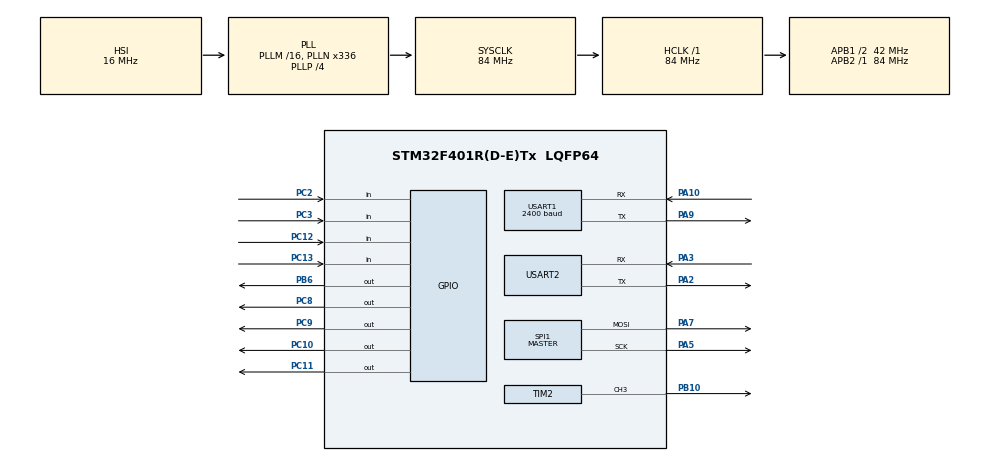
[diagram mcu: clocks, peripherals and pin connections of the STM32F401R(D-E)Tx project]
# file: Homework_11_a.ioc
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Dma.Request0=USART2_TX
Dma.Request1=SPI1_TX
Dma.SPI1_TX.1.Direction=DMA_MEMORY_TO_PERIPH
Dma.SPI1_TX.1.FIFOMode=DMA_FIFOMODE_DISABLE
Dma.SPI1_TX.1.Instance=DMA2_Stream3
Dma.SPI1_TX.1.MemDataAlignment=DMA_MDATAALIGN_BYTE
Dma.SPI1_TX.1.MemInc=DMA_MINC_ENABLE
Dma.SPI1_TX.1.Mode=DMA_NORMAL
Dma.SPI1_TX.1.PeriphDataAlignment=DMA_PDATAALIGN_BYTE
Dma.SPI1_TX.1.PeriphInc=DMA_PINC_DISABLE
Dma.SPI1_TX.1.Priority=DMA_PRIORITY_LOW
Dma.USART2_TX.0.Direction=DMA_MEMORY_TO_PERIPH
Dma.USART2_TX.0.FIFOMode=DMA_FIFOMODE_DISABLE
Dma.USART2_TX.0.Instance=DMA1_Stream6
Dma.USART2_TX.0.MemDataAlignment=DMA_MDATAALIGN_BYTE
Dma.USART2_TX.0.MemInc=DMA_MINC_ENABLE
Dma.USART2_TX.0.Mode=DMA_NORMAL
Dma.USART2_TX.0.PeriphDataAlignment=DMA_PDATAALIGN_BYTE
Dma.USART2_TX.0.PeriphInc=DMA_PINC_DISABLE
Dma.USART2_TX.0.Priority=DMA_PRIORITY_LOW
Mcu.Family=STM32F4
Mcu.Name=STM32F401R(D-E)Tx
Mcu.Package=LQFP64
NVIC.DMA1_Stream6_IRQn=true\:0\:0\:false\:false\:true\:false\:true\:true
NVIC.DMA2_Stream3_IRQn=true\:1\:0\:true\:false\:true\:false\:true\:true
NVIC.PriorityGroup=NVIC_PRIORITYGROUP_4
NVIC.SPI1_IRQn=true\:1\:0\:true\:false\:true\:true\:true\:true
NVIC.TIM1_TRG_COM_TIM11_IRQn=true\:1\:0\:true\:false\:true\:true\:true\:true
NVIC.TIM1_UP_TIM10_IRQn=true\:1\:0\:true\:false\:true\:true\:true\:true
NVIC.TIM3_IRQn=true\:0\:0\:false\:false\:true\:true\:true\:true
NVIC.USART1_IRQn=true\:1\:0\:true\:false\:true\:true\:true\:true
NVIC.USART2_IRQn=true\:1\:0\:true\:false\:true\:true\:true\:true
PA10.Mode=Asynchronous
PA10.Signal=USART1_RX
PA13.GPIO_Label=TMS
PA13.Mode=Trace_Asynchronous_SW
PA13.Signal=SYS_JTMS-SWDIO
PA14.GPIO_Label=TCK
PA14.Mode=Trace_Asynchronous_SW
PA14.Signal=SYS_JTCK-SWCLK
PA2.GPIO_Mode=GPIO_MODE_AF_PP
PA2.GPIO_ModeDefaultPP=GPIO_MODE_AF_PP
PA2.GPIO_PuPd=GPIO_NOPULL
PA2.GPIO_Speed=GPIO_SPEED_FREQ_VERY_HIGH
PA2.Mode=Asynchronous
PA2.Signal=USART2_TX
PA3.GPIO_Mode=GPIO_MODE_AF_PP
PA3.GPIO_ModeDefaultPP=GPIO_MODE_AF_PP
PA3.GPIO_PuPd=GPIO_NOPULL
PA3.GPIO_Speed=GPIO_SPEED_FREQ_VERY_HIGH
PA3.Mode=Asynchronous
PA3.Signal=USART2_RX
PA5.Mode=TX_Only_Simplex_Unidirect_Master
PA5.Signal=SPI1_SCK
PA7.Mode=TX_Only_Simplex_Unidirect_Master
PA7.Signal=SPI1_MOSI
PA9.Mode=Asynchronous
PA9.Signal=USART1_TX
PB10.Signal=S_TIM2_CH3
PB3.GPIO_Label=SWO
PB3.Mode=Trace_Asynchronous_SW
PB3.Signal=SYS_JTDO-SWO
PB6.Signal=GPIO_Output
PC10.Signal=GPIO_Output
PC11.Signal=GPIO_Output
PC12.Signal=GPIO_Input
PC13-ANTI_TAMP.Signal=GPIO_Input
PC14-OSC32_IN.Mode=LSE-External-Oscillator
PC14-OSC32_IN.Signal=RCC_OSC32_IN
PC15-OSC32_OUT.Mode=LSE-External-Oscillator
PC15-OSC32_OUT.Signal=RCC_OSC32_OUT
PC2.Signal=GPIO_Input
PC3.Signal=GPIO_Input
PC8.Signal=GPIO_Output
PC9.Signal=GPIO_Output
PH0\ -\ OSC_IN.Mode=HSE-External-Clock-Source
PH0\ -\ OSC_IN.Signal=RCC_OSC_IN
PH1\ -\ OSC_OUT.Mode=HSE-External-Clock-Source
PH1\ -\ OSC_OUT.Signal=RCC_OSC_OUT
ProjectManager.HeapSize=0x200
ProjectManager.StackSize=0x400
ProjectManager.TargetToolchain=STM32CubeIDE
RCC.48MHZClocksFreq_Value=48000000
RCC.AHBFreq_Value=84000000
RCC.APB1CLKDivider=RCC_HCLK_DIV2
RCC.APB1Freq_Value=42000000
RCC.APB1TimFreq_Value=84000000
RCC.APB2Freq_Value=84000000
RCC.APB2TimFreq_Value=84000000
RCC.CortexFreq_Value=84000000
RCC.HCLKFreq_Value=84000000
RCC.HSE_VALUE=8000000
RCC.HSI_VALUE=16000000
RCC.PLLN=336
RCC.PLLP=RCC_PLLP_DIV4
RCC.PLLQ=7
RCC.SYSCLKFreq_VALUE=84000000
RCC.SYSCLKSource=RCC_SYSCLKSOURCE_PLLCLK
RCC.VCOOutputFreq_Value=336000000
SH.S_TIM2_CH3.0=TIM2_CH3,PWM Generation3 CH3
SPI1.BaudRatePrescaler=SPI_BAUDRATEPRESCALER_4
SPI1.Direction=SPI_DIRECTION_2LINES
SPI1.Mode=SPI_MODE_MASTER
SPI1.VirtualType=VM_MASTER
TIM10.Period=4999
TIM10.Prescaler=83
TIM11.Period=99
TIM11.Prescaler=83
TIM2.Channel-PWM\ Generation3\ CH3=TIM_CHANNEL_3
TIM2.Period=2210
TIM2.Pulse-PWM\ Generation3\ CH3=1105
TIM3.Period=34999
USART1.BaudRate=2400
USART1.Mode=MODE_RX
USART1.VirtualMode=VM_ASYNC
USART2.VirtualMode=VM_ASYNC
VP_TIM10_VS_ClockSourceINT.Mode=Enable_Timer
VP_TIM11_VS_ClockSourceINT.Mode=Enable_Timer
VP_TIM2_VS_ClockSourceINT.Mode=Internal
VP_TIM3_VS_ClockSourceINT.Mode=Internal
board=NUCLEO-F401RE

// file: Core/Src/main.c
/* USER CODE BEGIN Header */
/**
  ******************************************************************************
  * @file           : main.c
  * @brief          : Main program body
  ******************************************************************************
  * @attention
  *
  * Copyright (c) 2024 STMicroelectronics.
  * All rights reserved.
  *
  * This software is licensed under terms that can be found in the LICENSE file
  * in the root directory of this software component.
  * If no LICENSE file comes with this software, it is provided AS-IS.
  *
  ******************************************************************************
  */
/* USER CODE END Header */
#include "main.h"

/* USER CODE BEGIN Includes */
#include <string.h>

/* USER CODE END Includes */

/* USER CODE BEGIN PD */
#define NUM_ROWS 4
#define NUM_COLS 4
#define DEBOUNCE_TIME 5

#define ROW_PORT GPIOC
#define COL_PORT GPIOC

/* USER CODE END PD */

SPI_HandleTypeDef hspi1;
DMA_HandleTypeDef hdma_spi1_tx;

TIM_HandleTypeDef htim2;
TIM_HandleTypeDef htim3;
TIM_HandleTypeDef htim10;
TIM_HandleTypeDef htim11;

UART_HandleTypeDef huart1;
UART_HandleTypeDef huart2;
DMA_HandleTypeDef hdma_usart2_tx;

/* USER CODE BEGIN PV */

uint8_t RX_byte = 0;

uint8_t keyPressed[4][4];
uint32_t press_ack[4][4];

const char keyMap[4][4] = {
    {'0', '1', '2', '3'},
    {'4', '5', '6', '7'},
    {'8', '9', 'A', 'B'},
    {'C', 'D', 'E', 'F'}
};

uint8_t col = 0;
uint16_t row_pins [NUM_ROWS] = {GPIO_PIN_3,GPIO_PIN_2,GPIO_PIN_13,GPIO_PIN_12};

uint8_t baud_flag = 0;

//Different matrix
uint8_t matrix[5][2];

volatile uint8_t matrix_QM[5][2] = {
	  {32,16},	// y0 content {row}, address {column}
	  {64, 8},	// y1
	  {69, 4},	// y2
	  {72, 2},	// y3
	  {48, 1}
};

volatile uint8_t matrix_A[5][2] = {
	  {31,16},
	  {36, 8},
	  {68, 4},
	  {36, 2},
	  {31, 1}
};

volatile uint8_t matrix_B[5][2] = {
	  {127,16},
	  {73, 8},
	  {73, 4},
	  {85, 2},
	  {99, 1}
};
volatile uint8_t matrix_C[5][2] = {
	  {62,16},
	  {65, 8},
	  {65, 4},
	  {65, 2},
	  {34, 1}
};

volatile uint8_t matrix_D[5][2] = {
	  {127,16},
	  {65, 8},
	  {65, 4},
	  {65, 2},
	  {62, 1}
};
volatile uint8_t matrix_E[5][2] = {
	  {127,16},
	  {73, 8},
	  {73, 4},
	  {73, 2},
	  {9, 1}
};
volatile uint8_t matrix_F[5][2] = {
	  {127,16},
	  {72, 8},
	  {72, 4},
	  {72, 2},
	  {72, 1}
};
volatile uint8_t matrix_0[5][2] = {
	  {127,16},
	  {65, 8},
	  {65, 4},
	  {65, 2},
	  {127, 1}
};
volatile uint8_t matrix_1[5][2] = {
	  {0,16},
	  {33, 8},
	  {127, 4},
	  {1, 2},
	  {0, 1}
};
volatile uint8_t matrix_2[5][2] = {
	  {39,16},
	  {73, 8},
	  {73, 4},
	  {73, 2},
	  {49, 1}
};
volatile uint8_t matrix_3[5][2] = {
	  {65,16},
	  {73, 8},
	  {73, 4},
	  {73, 2},
	  {127, 1}
};
volatile uint8_t matrix_4[5][2] = {
	  {8,16},
	  {24, 8},
	  {40, 4},
	  {127, 2},
	  {8, 1}
};
volatile uint8_t matrix_5[5][2] = {
	  {99,16},
	  {81, 8},
	  {73, 4},
	  {73, 2},
	  {79, 1}
};
volatile uint8_t matrix_6[5][2] = {
	  {127,16},
	  {73, 8},
	  {73, 4},
	  {73, 2},
	  {15, 1}
};
volatile uint8_t matrix_7[5][2] = {
	  {67,16},
	  {68, 8},
	  {72, 4},
	  {80, 2},
	  {96, 1}
};
volatile uint8_t matrix_8[5][2] = {
	  {127,16},
	  {73, 8},
	  {73, 4},
	  {73, 2},
	  {127, 1}
};
volatile uint8_t matrix_9[5][2] = {
	  {121,16},
	  {73, 8},
	  {73, 4},
	  {73, 2},
	  {127, 1}
};
uint8_t column_index = 0;

uint8_t receive_flag = 0;
volatile uint8_t char_to_show = 0;
/* USER CODE END PV */

void SystemClock_Config(void);
static void MX_GPIO_Init(void);
static void MX_DMA_Init(void);
static void MX_USART2_UART_Init(void);
static void MX_TIM2_Init(void);
static void MX_TIM3_Init(void);
static void MX_USART1_UART_Init(void);
static void MX_TIM10_Init(void);
static void MX_SPI1_Init(void);
static void MX_TIM11_Init(void);

/* USER CODE BEGIN 0 */

void HAL_SPI_TxCpltCallback(SPI_HandleTypeDef *hspi)
{
	if(hspi->Instance == SPI1)
	{
		HAL_GPIO_TogglePin(GPIOB, GPIO_PIN_6);

		column_index++;
		if(column_index > 4) column_index = 0;
	}
}

void ShowLetter()
{
	if(char_to_show != '\n')
	{
		switch(char_to_show)
		{
			case '0':
				memcpy(matrix, (const void *)matrix_0,sizeof(matrix));
				break;
			case '1':
				memcpy(matrix, (const void *)matrix_1,sizeof(matrix));
				break;
			case '2':
				memcpy(matrix, (const void *)matrix_2,sizeof(matrix));
				break;
			case '3':
				memcpy(matrix, (const void *)matrix_3,sizeof(matrix));
				break;
			case '4':
				memcpy(matrix, (const void *)matrix_4,sizeof(matrix));
				break;
			case '5':
				memcpy(matrix, (const void *)matrix_5,sizeof(matrix));
				break;
			case '6':
				memcpy(matrix, (const void *)matrix_6,sizeof(matrix));
				break;
			case '7':
				memcpy(matrix, (const void *)matrix_7,sizeof(matrix));
				break;
			case '8':
				memcpy(matrix, (const void *)matrix_8,sizeof(matrix));
				break;
			case '9':
				memcpy(matrix, (const void *)matrix_9,sizeof(matrix));
				break;
			case 'A':
				memcpy(matrix, (const void *)matrix_A,sizeof(matrix));
				break;
			case 'B':
				memcpy(matrix, (const void *)matrix_B,sizeof(matrix));
				break;
			case 'C':
				memcpy(matrix, (const void *)matrix_C,sizeof(matrix));
				break;
			case 'D':
				memcpy(matrix, (const void *)matrix_D,sizeof(matrix));
				break;
			case 'E':
				memcpy(matrix, (const void *)matrix_E,sizeof(matrix));
				break;
			case 'F':
				memcpy(matrix, (const void *)matrix_F,sizeof(matrix));
				break;
			default:
				memcpy(matrix, (const void *)matrix_QM,sizeof(matrix));
				break;
		}
	}
}

/**
 * @brief Callback of UART
 */
void HAL_UART_RxCpltCallback(UART_HandleTypeDef *huart)
{
	// UART1
    if (huart->Instance == USART1)
    {
    	HAL_UART_Receive_IT(&huart1, &RX_byte, sizeof(RX_byte));
		receive_flag =1;
		char_to_show = RX_byte;

        HAL_UART_Transmit_DMA(&huart2, &RX_byte, sizeof(RX_byte));
    }

    // UART2
    if(huart->Instance == USART2)
    {
        HAL_UART_Receive_IT(&huart2, &RX_byte, 1);
        receive_flag =1;
        char_to_show = RX_byte;
	}
}

/**
 * @brief Send the byte via IR transmitter
 */
void UART_IR_Transmit(uint8_t tx_byte)
{
	// Enable baud rate interrupt timer
	HAL_TIM_Base_Start_IT(&htim3);

    // Send the start bit (0)
    HAL_TIM_PWM_Start(&htim2, TIM_CHANNEL_3); // Enable PWM
    while (baud_flag == 0); // Wait for one bit period
    baud_flag = 0;

    // Send 8 data bits
	for(uint8_t bit_index = 0; bit_index <8 ; bit_index++)
	{
		// The Flag has been reset in the periodElapsedCallback of TIM10
		if(tx_byte &(0x01 << bit_index))
		{
			// We want to send a '1'
			// So we stop the PWM
			HAL_TIM_PWM_Stop(&htim2, TIM_CHANNEL_3); // UART reading 1
		}
		else
		{
			// We want to send a zero
			// So we have to enable the PWM
			HAL_TIM_PWM_Start(&htim2, TIM_CHANNEL_3); // UART reading 0
		}
	    while (baud_flag == 0){} // Wait for one bit period
	    // Then we reset the flag
		baud_flag = 0;
	}

	// We need to send the STOP bit '1'
	HAL_TIM_PWM_Stop(&htim2, TIM_CHANNEL_3); // UART reading 1
	while (baud_flag == 0); // Wait for one bit period
	baud_flag = 0;

	HAL_TIM_Base_Stop_IT(&htim3);
}

/**
 * @brief Timers Callback
 */
void HAL_TIM_PeriodElapsedCallback(TIM_HandleTypeDef *htim)
{
	// TIMER 10
    if(htim->Instance == TIM10)
    {
    	// Read row pins -
     	 for(uint8_t row = 0; row < 4; row++)
     	 {
     		 GPIO_PinState state = HAL_GPIO_ReadPin(ROW_PORT, row_pins[row]);
   			 if(state == GPIO_PIN_SET)
   			 {
				 keyPressed[row][col] = 0;
				 press_ack[row][col] = 0;
			 }
			 else // Key pressed
			 {
				 keyPressed[row][col]++;
			 }
       	 }
       	 col = (col + 1) % 4;
       	 HAL_GPIO_WritePin(COL_PORT, GPIO_PIN_8, (col== 0) ? GPIO_PIN_SET:GPIO_PIN_RESET);
       	 HAL_GPIO_WritePin(COL_PORT, GPIO_PIN_9, (col== 1) ? GPIO_PIN_SET:GPIO_PIN_RESET);
       	 HAL_GPIO_WritePin(COL_PORT, GPIO_PIN_10, (col== 2) ? GPIO_PIN_SET:GPIO_PIN_RESET);
       	 HAL_GPIO_WritePin(COL_PORT, GPIO_PIN_11, (col== 3) ? GPIO_PIN_SET:GPIO_PIN_RESET);
    }

    // TIMER 3 = Baudrate
	if (htim->Instance == TIM3) // 2400 bps bit-timing interrupt
	{
		baud_flag = 1;
    }

	// TIMER 11 = for MATRIX LED
    if(htim->Instance == TIM11)
    {
    	HAL_SPI_Transmit_DMA(&hspi1, (uint8_t *)matrix[column_index], sizeof(matrix[column_index]));
    }
}

/* USER CODE END 0 */

int main(void)
{

  /* MCU Configuration--------------------------------------------------------*/

  /* Reset of all peripherals, Initializes the Flash interface and the Systick. */
  HAL_Init();

  /* Configure the system clock */
  SystemClock_Config();

  /* Initialize all configured peripherals */
  MX_GPIO_Init();
  MX_DMA_Init();
  MX_USART2_UART_Init();
  MX_TIM2_Init();
  MX_TIM3_Init();
  MX_USART1_UART_Init();
  MX_TIM10_Init();
  MX_SPI1_Init();
  MX_TIM11_Init();
  /* USER CODE BEGIN 2 */

  //HAL_UART_Receive_IT(&huart2, &RX_byte, 1); // for debugging

  HAL_UART_Receive_IT(&huart1, &RX_byte, 1); // Start reception'

  if(HAL_TIM_Base_Start_IT(&htim10) != HAL_OK)
  {
   	  Error_Handler();
  }

  if(HAL_TIM_Base_Start_IT(&htim11) != HAL_OK)
  {
   	  Error_Handler();
  }

  memcpy(matrix, (const void *)matrix_0,sizeof(matrix));

  /* USER CODE END 2 */

  /* Infinite loop */
  /* USER CODE BEGIN WHILE */
  while (1)
  {
	  if(receive_flag)
	  {
		  ShowLetter();
		  receive_flag = 0;
	  }

	  for(uint8_t i=0; i<4; i++)
	  {
		  for(uint8_t j=0; j<4; j++)
		  {
			  if (keyPressed[i][j] > DEBOUNCE_TIME)
			  {
				  if (press_ack[i][j] == 0) // New valid keypress
				  {
					  press_ack[i][j] = 1;     // Mark key as processed
					  UART_IR_Transmit(keyMap[i][j]);

					  //for debugging
					  //HAL_UART_Transmit_DMA(&huart2, &keyMap[i][j], sizeof(keyMap[i][j]));
				}
			  }
		  }
	  }
    /* USER CODE END WHILE */

  }
}

void SystemClock_Config(void)
{
  RCC_OscInitTypeDef RCC_OscInitStruct = {0};
  RCC_ClkInitTypeDef RCC_ClkInitStruct = {0};

  /** Configure the main internal regulator output voltage
  */
  __HAL_RCC_PWR_CLK_ENABLE();
  __HAL_PWR_VOLTAGESCALING_CONFIG(PWR_REGULATOR_VOLTAGE_SCALE2);

  /** Initializes the RCC Oscillators according to the specified parameters
  * in the RCC_OscInitTypeDef structure.
  */
  RCC_OscInitStruct.OscillatorType = RCC_OSCILLATORTYPE_HSI;
  RCC_OscInitStruct.HSIState = RCC_HSI_ON;
  RCC_OscInitStruct.HSICalibrationValue = RCC_HSICALIBRATION_DEFAULT;
  RCC_OscInitStruct.PLL.PLLState = RCC_PLL_ON;
  RCC_OscInitStruct.PLL.PLLSource = RCC_PLLSOURCE_HSI;
  RCC_OscInitStruct.PLL.PLLM = 16;
  RCC_OscInitStruct.PLL.PLLN = 336;
  RCC_OscInitStruct.PLL.PLLP = RCC_PLLP_DIV4;
  RCC_OscInitStruct.PLL.PLLQ = 7;
  if (HAL_RCC_OscConfig(&RCC_OscInitStruct) != HAL_OK)
  {
    Error_Handler();
  }

  /** Initializes the CPU, AHB and APB buses clocks
  */
  RCC_ClkInitStruct.ClockType = RCC_CLOCKTYPE_HCLK|RCC_CLOCKTYPE_SYSCLK
                              |RCC_CLOCKTYPE_PCLK1|RCC_CLOCKTYPE_PCLK2;
  RCC_ClkInitStruct.SYSCLKSource = RCC_SYSCLKSOURCE_PLLCLK;
  RCC_ClkInitStruct.AHBCLKDivider = RCC_SYSCLK_DIV1;
  RCC_ClkInitStruct.APB1CLKDivider = RCC_HCLK_DIV2;
  RCC_ClkInitStruct.APB2CLKDivider = RCC_HCLK_DIV1;

  if (HAL_RCC_ClockConfig(&RCC_ClkInitStruct, FLASH_LATENCY_2) != HAL_OK)
  {
    Error_Handler();
  }
}

static void MX_SPI1_Init(void)
{

  /* SPI1 parameter configuration*/
  hspi1.Instance = SPI1;
  hspi1.Init.Mode = SPI_MODE_MASTER;
  hspi1.Init.Direction = SPI_DIRECTION_2LINES;
  hspi1.Init.DataSize = SPI_DATASIZE_8BIT;
  hspi1.Init.CLKPolarity = SPI_POLARITY_LOW;
  hspi1.Init.CLKPhase = SPI_PHASE_1EDGE;
  hspi1.Init.NSS = SPI_NSS_SOFT;
  hspi1.Init.BaudRatePrescaler = SPI_BAUDRATEPRESCALER_4;
  hspi1.Init.FirstBit = SPI_FIRSTBIT_MSB;
  hspi1.Init.TIMode = SPI_TIMODE_DISABLE;
  hspi1.Init.CRCCalculation = SPI_CRCCALCULATION_DISABLE;
  hspi1.Init.CRCPolynomial = 10;
  if (HAL_SPI_Init(&hspi1) != HAL_OK)
  {
    Error_Handler();
  }

}

static void MX_TIM2_Init(void)
{

  TIM_ClockConfigTypeDef sClockSourceConfig = {0};
  TIM_MasterConfigTypeDef sMasterConfig = {0};
  TIM_OC_InitTypeDef sConfigOC = {0};

  htim2.Instance = TIM2;
  htim2.Init.Prescaler = 0;
  htim2.Init.CounterMode = TIM_COUNTERMODE_UP;
  htim2.Init.Period = 2210;
  htim2.Init.ClockDivision = TIM_CLOCKDIVISION_DIV1;
  htim2.Init.AutoReloadPreload = TIM_AUTORELOAD_PRELOAD_DISABLE;
  if (HAL_TIM_Base_Init(&htim2) != HAL_OK)
  {
    Error_Handler();
  }
  sClockSourceConfig.ClockSource = TIM_CLOCKSOURCE_INTERNAL;
  if (HAL_TIM_ConfigClockSource(&htim2, &sClockSourceConfig) != HAL_OK)
  {
    Error_Handler();
  }
  if (HAL_TIM_PWM_Init(&htim2) != HAL_OK)
  {
    Error_Handler();
  }
  sMasterConfig.MasterOutputTrigger = TIM_TRGO_RESET;
  sMasterConfig.MasterSlaveMode = TIM_MASTERSLAVEMODE_DISABLE;
  if (HAL_TIMEx_MasterConfigSynchronization(&htim2, &sMasterConfig) != HAL_OK)
  {
    Error_Handler();
  }
  sConfigOC.OCMode = TIM_OCMODE_PWM1;
  sConfigOC.Pulse = 1105;
  sConfigOC.OCPolarity = TIM_OCPOLARITY_HIGH;
  sConfigOC.OCFastMode = TIM_OCFAST_DISABLE;
  if (HAL_TIM_PWM_ConfigChannel(&htim2, &sConfigOC, TIM_CHANNEL_3) != HAL_OK)
  {
    Error_Handler();
  }
  HAL_TIM_MspPostInit(&htim2);

}

static void MX_TIM3_Init(void)
{

  TIM_ClockConfigTypeDef sClockSourceConfig = {0};
  TIM_MasterConfigTypeDef sMasterConfig = {0};

  htim3.Instance = TIM3;
  htim3.Init.Prescaler = 0;
  htim3.Init.CounterMode = TIM_COUNTERMODE_UP;
  htim3.Init.Period = 34999;
  htim3.Init.ClockDivision = TIM_CLOCKDIVISION_DIV1;
  htim3.Init.AutoReloadPreload = TIM_AUTORELOAD_PRELOAD_DISABLE;
  if (HAL_TIM_Base_Init(&htim3) != HAL_OK)
  {
    Error_Handler();
  }
  sClockSourceConfig.ClockSource = TIM_CLOCKSOURCE_INTERNAL;
  if (HAL_TIM_ConfigClockSource(&htim3, &sClockSourceConfig) != HAL_OK)
  {
    Error_Handler();
  }
  sMasterConfig.MasterOutputTrigger = TIM_TRGO_RESET;
  sMasterConfig.MasterSlaveMode = TIM_MASTERSLAVEMODE_DISABLE;
  if (HAL_TIMEx_MasterConfigSynchronization(&htim3, &sMasterConfig) != HAL_OK)
  {
    Error_Handler();
  }

}

static void MX_TIM10_Init(void)
{

  htim10.Instance = TIM10;
  htim10.Init.Prescaler = 83;
  htim10.Init.CounterMode = TIM_COUNTERMODE_UP;
  htim10.Init.Period = 4999;
  htim10.Init.ClockDivision = TIM_CLOCKDIVISION_DIV1;
  htim10.Init.AutoReloadPreload = TIM_AUTORELOAD_PRELOAD_DISABLE;
  if (HAL_TIM_Base_Init(&htim10) != HAL_OK)
  {
    Error_Handler();
  }

}

static void MX_TIM11_Init(void)
{

  htim11.Instance = TIM11;
  htim11.Init.Prescaler = 83;
  htim11.Init.CounterMode = TIM_COUNTERMODE_UP;
  htim11.Init.Period = 99;
  htim11.Init.ClockDivision = TIM_CLOCKDIVISION_DIV1;
  htim11.Init.AutoReloadPreload = TIM_AUTORELOAD_PRELOAD_DISABLE;
  if (HAL_TIM_Base_Init(&htim11) != HAL_OK)
  {
    Error_Handler();
  }

}

static void MX_USART1_UART_Init(void)
{

  huart1.Instance = USART1;
  huart1.Init.BaudRate = 2400;
  huart1.Init.WordLength = UART_WORDLENGTH_8B;
  huart1.Init.StopBits = UART_STOPBITS_1;
  huart1.Init.Parity = UART_PARITY_NONE;
  huart1.Init.Mode = UART_MODE_RX;
  huart1.Init.HwFlowCtl = UART_HWCONTROL_NONE;
  huart1.Init.OverSampling = UART_OVERSAMPLING_16;
  if (HAL_UART_Init(&huart1) != HAL_OK)
  {
    Error_Handler();
  }

}

static void MX_USART2_UART_Init(void)
{

  huart2.Instance = USART2;
  huart2.Init.BaudRate = 115200;
  huart2.Init.WordLength = UART_WORDLENGTH_8B;
  huart2.Init.StopBits = UART_STOPBITS_1;
  huart2.Init.Parity = UART_PARITY_NONE;
  huart2.Init.Mode = UART_MODE_TX_RX;
  huart2.Init.HwFlowCtl = UART_HWCONTROL_NONE;
  huart2.Init.OverSampling = UART_OVERSAMPLING_16;
  if (HAL_UART_Init(&huart2) != HAL_OK)
  {
    Error_Handler();
  }

}

static void MX_DMA_Init(void)
{

  /* DMA controller clock enable */
  __HAL_RCC_DMA1_CLK_ENABLE();
  __HAL_RCC_DMA2_CLK_ENABLE();

  /* DMA interrupt init */
  /* DMA1_Stream6_IRQn interrupt configuration */
  HAL_NVIC_SetPriority(DMA1_Stream6_IRQn, 0, 0);
  HAL_NVIC_EnableIRQ(DMA1_Stream6_IRQn);
  /* DMA2_Stream3_IRQn interrupt configuration */
  HAL_NVIC_SetPriority(DMA2_Stream3_IRQn, 1, 0);
  HAL_NVIC_EnableIRQ(DMA2_Stream3_IRQn);

}

static void MX_GPIO_Init(void)
{
  GPIO_InitTypeDef GPIO_InitStruct = {0};

  /* GPIO Ports Clock Enable */
  __HAL_RCC_GPIOC_CLK_ENABLE();
  __HAL_RCC_GPIOH_CLK_ENABLE();
  __HAL_RCC_GPIOA_CLK_ENABLE();
  __HAL_RCC_GPIOB_CLK_ENABLE();

  /*Configure GPIO pin Output Level */
  HAL_GPIO_WritePin(GPIOC, GPIO_PIN_8|GPIO_PIN_9|GPIO_PIN_10|GPIO_PIN_11, GPIO_PIN_RESET);

  /*Configure GPIO pin Output Level */
  HAL_GPIO_WritePin(GPIOB, GPIO_PIN_6, GPIO_PIN_RESET);

  /*Configure GPIO pins : PC13 PC2 PC3 PC12 */
  GPIO_InitStruct.Pin = GPIO_PIN_13|GPIO_PIN_2|GPIO_PIN_3|GPIO_PIN_12;
  GPIO_InitStruct.Mode = GPIO_MODE_INPUT;
  GPIO_InitStruct.Pull = GPIO_NOPULL;
  HAL_GPIO_Init(GPIOC, &GPIO_InitStruct);

  /*Configure GPIO pins : PC8 PC9 PC10 PC11 */
  GPIO_InitStruct.Pin = GPIO_PIN_8|GPIO_PIN_9|GPIO_PIN_10|GPIO_PIN_11;
  GPIO_InitStruct.Mode = GPIO_MODE_OUTPUT_PP;
  GPIO_InitStruct.Pull = GPIO_NOPULL;
  GPIO_InitStruct.Speed = GPIO_SPEED_FREQ_LOW;
  HAL_GPIO_Init(GPIOC, &GPIO_InitStruct);

  /*Configure GPIO pin : PB6 */
  GPIO_InitStruct.Pin = GPIO_PIN_6;
  GPIO_InitStruct.Mode = GPIO_MODE_OUTPUT_PP;
  GPIO_InitStruct.Pull = GPIO_NOPULL;
  GPIO_InitStruct.Speed = GPIO_SPEED_FREQ_LOW;
  HAL_GPIO_Init(GPIOB, &GPIO_InitStruct);

}

void Error_Handler(void)
{
  __disable_irq();
  while (1)
  {
  }
}
